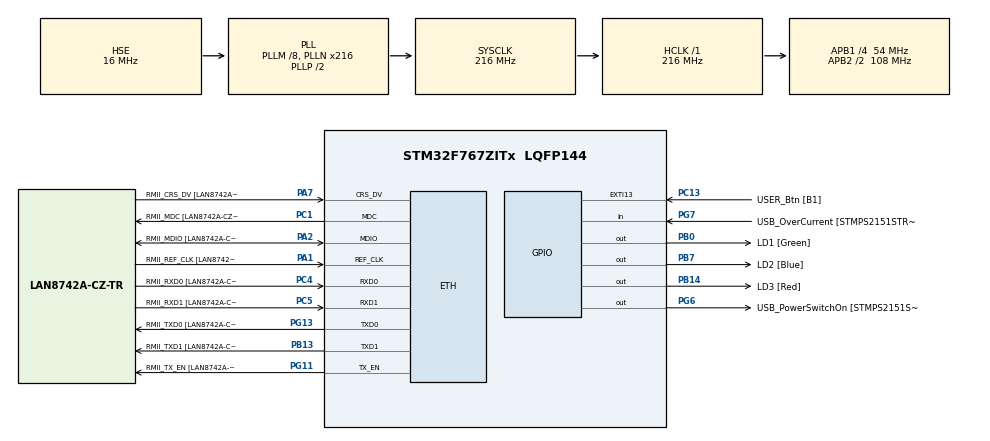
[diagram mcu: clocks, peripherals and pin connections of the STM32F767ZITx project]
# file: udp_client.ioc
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CORTEX_M7.AccessPermission-Cortex_Memory_Protection_Unit_Region0_Settings=MPU_REGION_FULL_ACCESS
CORTEX_M7.BaseAddress-Cortex_Memory_Protection_Unit_Region0_Settings=0x2007c000
CORTEX_M7.CPU_DCache=Enabled
CORTEX_M7.CPU_ICache=Enabled
CORTEX_M7.DisableExec-Cortex_Memory_Protection_Unit_Region0_Settings=MPU_INSTRUCTION_ACCESS_DISABLE
CORTEX_M7.Enable-Cortex_Memory_Protection_Unit_Region0_Settings=MPU_REGION_ENABLE
CORTEX_M7.IsShareable-Cortex_Memory_Protection_Unit_Region0_Settings=MPU_ACCESS_SHAREABLE
CORTEX_M7.MPU_Control=MPU_PRIVILEGED_DEFAULT
CORTEX_M7.PREFETCH_ENABLE=1
CORTEX_M7.Size-Cortex_Memory_Protection_Unit_Region0_Settings=MPU_REGION_SIZE_16KB
CORTEX_M7.TypeExtField-Cortex_Memory_Protection_Unit_Region0_Settings=MPU_TEX_LEVEL1
ETH.MACAddr=00\:80\:E1\:00\:00\:20
ETH.MediaInterface=HAL_ETH_RMII_MODE
LWIP.BSP.number=1
LWIP.GATEWAY_ADDRESS=192.168.005.001
LWIP.IP_ADDRESS=192.168.005.021
LWIP.LWIP_DHCP=0
LWIP.MEM_SIZE=10*1024
LWIP.NETMASK_ADDRESS=255.255.255.000
LWIP.Version=v2.1.2_Cube
LWIP0.BSP.STBoard=false
LWIP0.BSP.api=BSP_COMPONENT_DRIVER
LWIP0.BSP.component=LAN8742
LWIP0.BSP.instance=LAN8742
LWIP0.BSP.name=Driver_PHY
LWIP0.BSP.semaphore=S_LAN8742
LWIP0.BSP.solution=LAN8742
Mcu.Family=STM32F7
Mcu.Name=STM32F767ZITx
Mcu.Package=LQFP144
NVIC.ETH_IRQn=true\:0\:0\:false\:false\:true\:true\:true\:true
NVIC.PriorityGroup=NVIC_PRIORITYGROUP_4
NVIC.TIM1_BRK_TIM9_IRQn=true\:0\:0\:false\:false\:true\:true\:true\:true
NVIC.TIM1_UP_TIM10_IRQn=true\:0\:0\:false\:false\:true\:true\:true\:true
PA1.GPIO_Label=RMII_REF_CLK [LAN8742A-CZ-TR_REFCLK0]
PA1.Mode=RMII
PA1.Signal=ETH_REF_CLK
PA10.GPIO_Label=USB_ID
PA10.Signal=USB_OTG_FS_ID
PA11.GPIO_Label=USB_DM
PA11.Signal=USB_OTG_FS_DM
PA12.GPIO_Label=USB_DP
PA12.Signal=USB_OTG_FS_DP
PA13.GPIO_Label=TMS
PA13.Signal=SYS_JTMS-SWDIO
PA14.GPIO_Label=TCK
PA14.Signal=SYS_JTCK-SWCLK
PA2.GPIO_Label=RMII_MDIO [LAN8742A-CZ-TR_MDIO]
PA2.Mode=RMII
PA2.Signal=ETH_MDIO
PA7.GPIO_Label=RMII_CRS_DV [LAN8742A-CZ-TR_CRS_DV]
PA7.Mode=RMII
PA7.Signal=ETH_CRS_DV
PA8.GPIO_Label=USB_SOF [TP1]
PA8.Signal=USB_OTG_FS_SOF
PA9.GPIO_Label=USB_VBUS
PA9.Signal=USB_OTG_FS_VBUS
PB0.GPIO_Label=LD1 [Green]
PB0.Signal=GPIO_Output
PB13.GPIO_Label=RMII_TXD1 [LAN8742A-CZ-TR_TXD1]
PB13.Mode=RMII
PB13.Signal=ETH_TXD1
PB14.GPIO_Label=LD3 [Red]
PB14.Signal=GPIO_Output
PB3.GPIO_Label=SW0
PB3.Signal=SYS_JTDO-SWO
PB7.GPIO_Label=LD2 [Blue]
PB7.Signal=GPIO_Output
PC1.GPIO_Label=RMII_MDC [LAN8742A-CZ-TR_MDC]
PC1.Mode=RMII
PC1.Signal=ETH_MDC
PC13.GPIO_Label=USER_Btn [B1]
PC13.Signal=GPXTI13
PC14/OSC32_IN.Signal=RCC_OSC32_IN
PC15/OSC32_OUT.Signal=RCC_OSC32_OUT
PC4.GPIO_Label=RMII_RXD0 [LAN8742A-CZ-TR_RXD0]
PC4.Mode=RMII
PC4.Signal=ETH_RXD0
PC5.GPIO_Label=RMII_RXD1 [LAN8742A-CZ-TR_RXD1]
PC5.Mode=RMII
PC5.Signal=ETH_RXD1
PD8.GPIO_Label=STLK_RX [STM32F103CBT6_PA3]
PD8.Signal=USART3_TX
PD9.GPIO_Label=STLK_TX [STM32F103CBT6_PA2]
PD9.Signal=USART3_RX
PG11.GPIO_Label=RMII_TX_EN [LAN8742A-CZ-TR_TXEN]
PG11.Mode=RMII
PG11.Signal=ETH_TX_EN
PG13.GPIO_Label=RMII_TXD0 [LAN8742A-CZ-TR_TXD0]
PG13.Mode=RMII
PG13.Signal=ETH_TXD0
PG6.GPIO_Label=USB_PowerSwitchOn [STMPS2151STR_EN]
PG6.Signal=GPIO_Output
PG7.GPIO_Label=USB_OverCurrent [STMPS2151STR_FAULT]
PG7.Signal=GPIO_Input
PH0/OSC_IN.GPIO_Label=MCO [STM32F103CBT6_PA8]
PH0/OSC_IN.Mode=HSE-External-Oscillator
PH0/OSC_IN.Signal=RCC_OSC_IN
PH1/OSC_OUT.Mode=HSE-External-Oscillator
PH1/OSC_OUT.Signal=RCC_OSC_OUT
ProjectManager.HeapSize=0x200
ProjectManager.StackSize=0x400
ProjectManager.TargetToolchain=STM32CubeIDE
RCC.48MHZClocksFreq_Value=24000000
RCC.AHBFreq_Value=216000000
RCC.APB1CLKDivider=RCC_HCLK_DIV4
RCC.APB1Freq_Value=54000000
RCC.APB1TimFreq_Value=108000000
RCC.APB2CLKDivider=RCC_HCLK_DIV2
RCC.APB2Freq_Value=108000000
RCC.APB2TimFreq_Value=216000000
RCC.CortexFreq_Value=216000000
RCC.HCLKFreq_Value=216000000
RCC.HSE_VALUE=16000000
RCC.HSI_VALUE=16000000
RCC.LSE_VALUE=32768
RCC.PLLM=8
RCC.PLLMUL=RCC_PLL_MUL9
RCC.PLLN=216
RCC.PLLSourceVirtual=RCC_PLLSOURCE_HSE
RCC.PRESCALERUSB=RCC_USBCLKSOURCE_PLL_DIV1_5
RCC.SYSCLKFreq_VALUE=216000000
RCC.SYSCLKSource=RCC_SYSCLKSOURCE_PLLCLK
RCC.SYSCLKSourceVirtual=RCC_SYSCLKSOURCE_PLLCLK
RCC.USBFreq_Value=216000000
RCC.VCOOutputFreq_Value=432000000
TIM1.Period=10000
TIM1.Prescaler=10800
VP_LWIP_VS_Enabled.Mode=Enabled
VP_TIM1_VS_ClockSourceINT.Mode=Internal
board=NUCLEO-F767ZI

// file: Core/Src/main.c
/* USER CODE BEGIN Header */
/**
  ******************************************************************************
  * @file           : main.c
  * @brief          : Main program body
  ******************************************************************************
  * @attention
  *
  * Copyright (c) 2024 STMicroelectronics.
  * All rights reserved.
  *
  * This software is licensed under terms that can be found in the LICENSE file
  * in the root directory of this software component.
  * If no LICENSE file comes with this software, it is provided AS-IS.
  *
  ******************************************************************************
  */
/* USER CODE END Header */
#include "main.h"
#include "lwip.h"

/* USER CODE BEGIN Includes */
#include "lwip/pbuf.h"
#include "lwip/udp.h"
#include "lwip/tcp.h"

#include "stdio.h"
#include "string.h"

/* USER CODE END Includes */

TIM_HandleTypeDef htim1;

/* USER CODE BEGIN PV */

extern struct netif gnetif;
struct udp_pcb *upcb;
char buffer[100];
int counter;

/* USER CODE END PV */

void SystemClock_Config(void);
static void MPU_Config(void);
static void MX_GPIO_Init(void);
static void MX_TIM1_Init(void);
/* USER CODE BEGIN PFP */

void udp_receive_callback(void *arg, struct udp_pcb *upcb, struct pbuf *p,
		const ip_addr_t *addr, u16_t port);
static void udp_client_send();

void udp_client_connect();

/* USER CODE END PFP */

int main(void)
{

  /* MPU Configuration--------------------------------------------------------*/
  MPU_Config();
/* Enable the CPU Cache */

  /* Enable I-Cache---------------------------------------------------------*/
  SCB_EnableICache();

  /* Enable D-Cache---------------------------------------------------------*/
  SCB_EnableDCache();

  /* MCU Configuration--------------------------------------------------------*/

  /* Reset of all peripherals, Initializes the Flash interface and the Systick. */
  HAL_Init();

  /* Configure the system clock */
  SystemClock_Config();

  /* Initialize all configured peripherals */
  MX_GPIO_Init();
  MX_LWIP_Init();
  MX_TIM1_Init();
  /* USER CODE BEGIN 2 */

  //Start HAL timer interrupt

  udp_client_connect();

  // Interrupt occurs once every 250ms
  HAL_TIM_Base_Start_IT(&htim1);

  /* USER CODE END 2 */

  /* Infinite loop */
  /* USER CODE BEGIN WHILE */
  while (1)
  {

	  ethernetif_input(&gnetif);
	  ethernet_link_check_state(&gnetif);
	  //udpClient
//	  gnetif.input()
	  //ethernet_input(p, netif)
	  sys_check_timeouts();
    /* USER CODE END WHILE */

  }
}

void SystemClock_Config(void)
{
  RCC_OscInitTypeDef RCC_OscInitStruct = {0};
  RCC_ClkInitTypeDef RCC_ClkInitStruct = {0};

  /** Configure the main internal regulator output voltage
  */
  __HAL_RCC_PWR_CLK_ENABLE();
  __HAL_PWR_VOLTAGESCALING_CONFIG(PWR_REGULATOR_VOLTAGE_SCALE1);

  /** Initializes the RCC Oscillators according to the specified parameters
  * in the RCC_OscInitTypeDef structure.
  */
  RCC_OscInitStruct.OscillatorType = RCC_OSCILLATORTYPE_HSE;
  RCC_OscInitStruct.HSEState = RCC_HSE_ON;
  RCC_OscInitStruct.PLL.PLLState = RCC_PLL_ON;
  RCC_OscInitStruct.PLL.PLLSource = RCC_PLLSOURCE_HSE;
  RCC_OscInitStruct.PLL.PLLM = 8;
  RCC_OscInitStruct.PLL.PLLN = 216;
  RCC_OscInitStruct.PLL.PLLP = RCC_PLLP_DIV2;
  RCC_OscInitStruct.PLL.PLLQ = 2;
  RCC_OscInitStruct.PLL.PLLR = 2;
  if (HAL_RCC_OscConfig(&RCC_OscInitStruct) != HAL_OK)
  {
    Error_Handler();
  }

  /** Activate the Over-Drive mode
  */
  if (HAL_PWREx_EnableOverDrive() != HAL_OK)
  {
    Error_Handler();
  }

  /** Initializes the CPU, AHB and APB buses clocks
  */
  RCC_ClkInitStruct.ClockType = RCC_CLOCKTYPE_HCLK|RCC_CLOCKTYPE_SYSCLK
                              |RCC_CLOCKTYPE_PCLK1|RCC_CLOCKTYPE_PCLK2;
  RCC_ClkInitStruct.SYSCLKSource = RCC_SYSCLKSOURCE_PLLCLK;
  RCC_ClkInitStruct.AHBCLKDivider = RCC_SYSCLK_DIV1;
  RCC_ClkInitStruct.APB1CLKDivider = RCC_HCLK_DIV4;
  RCC_ClkInitStruct.APB2CLKDivider = RCC_HCLK_DIV2;

  if (HAL_RCC_ClockConfig(&RCC_ClkInitStruct, FLASH_LATENCY_7) != HAL_OK)
  {
    Error_Handler();
  }
}

static void MX_TIM1_Init(void)
{

  TIM_ClockConfigTypeDef sClockSourceConfig = {0};
  TIM_MasterConfigTypeDef sMasterConfig = {0};

  htim1.Instance = TIM1;
  htim1.Init.Prescaler = 10800;
  htim1.Init.CounterMode = TIM_COUNTERMODE_UP;
  htim1.Init.Period = 10000;
  htim1.Init.ClockDivision = TIM_CLOCKDIVISION_DIV1;
  htim1.Init.RepetitionCounter = 0;
  htim1.Init.AutoReloadPreload = TIM_AUTORELOAD_PRELOAD_DISABLE;
  if (HAL_TIM_Base_Init(&htim1) != HAL_OK)
  {
    Error_Handler();
  }
  sClockSourceConfig.ClockSource = TIM_CLOCKSOURCE_INTERNAL;
  if (HAL_TIM_ConfigClockSource(&htim1, &sClockSourceConfig) != HAL_OK)
  {
    Error_Handler();
  }
  sMasterConfig.MasterOutputTrigger = TIM_TRGO_RESET;
  sMasterConfig.MasterOutputTrigger2 = TIM_TRGO2_RESET;
  sMasterConfig.MasterSlaveMode = TIM_MASTERSLAVEMODE_DISABLE;
  if (HAL_TIMEx_MasterConfigSynchronization(&htim1, &sMasterConfig) != HAL_OK)
  {
    Error_Handler();
  }

}

static void MX_GPIO_Init(void)
{
  GPIO_InitTypeDef GPIO_InitStruct = {0};

  /* GPIO Ports Clock Enable */
  __HAL_RCC_GPIOC_CLK_ENABLE();
  __HAL_RCC_GPIOH_CLK_ENABLE();
  __HAL_RCC_GPIOA_CLK_ENABLE();
  __HAL_RCC_GPIOB_CLK_ENABLE();
  __HAL_RCC_GPIOD_CLK_ENABLE();
  __HAL_RCC_GPIOG_CLK_ENABLE();

  /*Configure GPIO pin Output Level */
  HAL_GPIO_WritePin(GPIOB, LD1_Pin|LD3_Pin|LD2_Pin, GPIO_PIN_RESET);

  /*Configure GPIO pin Output Level */
  HAL_GPIO_WritePin(USB_PowerSwitchOn_GPIO_Port, USB_PowerSwitchOn_Pin, GPIO_PIN_RESET);

  /*Configure GPIO pin : USER_Btn_Pin */
  GPIO_InitStruct.Pin = USER_Btn_Pin;
  GPIO_InitStruct.Mode = GPIO_MODE_IT_RISING;
  GPIO_InitStruct.Pull = GPIO_NOPULL;
  HAL_GPIO_Init(USER_Btn_GPIO_Port, &GPIO_InitStruct);

  /*Configure GPIO pins : LD1_Pin LD3_Pin LD2_Pin */
  GPIO_InitStruct.Pin = LD1_Pin|LD3_Pin|LD2_Pin;
  GPIO_InitStruct.Mode = GPIO_MODE_OUTPUT_PP;
  GPIO_InitStruct.Pull = GPIO_NOPULL;
  GPIO_InitStruct.Speed = GPIO_SPEED_FREQ_LOW;
  HAL_GPIO_Init(GPIOB, &GPIO_InitStruct);

  /*Configure GPIO pins : STLK_RX_Pin STLK_TX_Pin */
  GPIO_InitStruct.Pin = STLK_RX_Pin|STLK_TX_Pin;
  GPIO_InitStruct.Mode = GPIO_MODE_AF_PP;
  GPIO_InitStruct.Pull = GPIO_NOPULL;
  GPIO_InitStruct.Speed = GPIO_SPEED_FREQ_VERY_HIGH;
  GPIO_InitStruct.Alternate = GPIO_AF7_USART3;
  HAL_GPIO_Init(GPIOD, &GPIO_InitStruct);

  /*Configure GPIO pin : USB_PowerSwitchOn_Pin */
  GPIO_InitStruct.Pin = USB_PowerSwitchOn_Pin;
  GPIO_InitStruct.Mode = GPIO_MODE_OUTPUT_PP;
  GPIO_InitStruct.Pull = GPIO_NOPULL;
  GPIO_InitStruct.Speed = GPIO_SPEED_FREQ_LOW;
  HAL_GPIO_Init(USB_PowerSwitchOn_GPIO_Port, &GPIO_InitStruct);

  /*Configure GPIO pin : USB_OverCurrent_Pin */
  GPIO_InitStruct.Pin = USB_OverCurrent_Pin;
  GPIO_InitStruct.Mode = GPIO_MODE_INPUT;
  GPIO_InitStruct.Pull = GPIO_NOPULL;
  HAL_GPIO_Init(USB_OverCurrent_GPIO_Port, &GPIO_InitStruct);

  /*Configure GPIO pins : USB_SOF_Pin USB_ID_Pin USB_DM_Pin USB_DP_Pin */
  GPIO_InitStruct.Pin = USB_SOF_Pin|USB_ID_Pin|USB_DM_Pin|USB_DP_Pin;
  GPIO_InitStruct.Mode = GPIO_MODE_AF_PP;
  GPIO_InitStruct.Pull = GPIO_NOPULL;
  GPIO_InitStruct.Speed = GPIO_SPEED_FREQ_VERY_HIGH;
  GPIO_InitStruct.Alternate = GPIO_AF10_OTG_FS;
  HAL_GPIO_Init(GPIOA, &GPIO_InitStruct);

  /*Configure GPIO pin : USB_VBUS_Pin */
  GPIO_InitStruct.Pin = USB_VBUS_Pin;
  GPIO_InitStruct.Mode = GPIO_MODE_INPUT;
  GPIO_InitStruct.Pull = GPIO_NOPULL;
  HAL_GPIO_Init(USB_VBUS_GPIO_Port, &GPIO_InitStruct);

}

/* USER CODE BEGIN 4 */

void HAL_TIM_PeriodElapsedCallback(TIM_HandleTypeDef *htim)
{
	HAL_GPIO_TogglePin(GPIOB, GPIO_PIN_14);

	// Timer callback meant to send data from stm -> Rpi in a periodic manner

//	udp_client_send();
}

void udp_client_connect()
{
	err_t err;

	// Create a new UDP control block
	// Need to check for null return
	upcb = udp_new();

	// Bind control block to module's IP address and port
	// Static IP address: 192.168.2.xxx
	ip_addr_t my_ip;
	IP_ADDR4(&my_ip, 192, 168, 5, 21); 	//STM ip when connected to RPI 5
//	IP_ADDR4(&my_ip, 192, 168, 20, 21); 	//STM ip when connected to Jetson Orin
//	IP_ADDR4(&my_ip, 192, 168, 2, 21); 	// STM ip when connected to linux desktop

	// Binds udp protocol control block to a local IP address
	// Arbitrary port # selection: 8
	udp_bind(upcb, &my_ip, 8);

	// Configure destination IP address
	// Host ip address: 192.168.2.5
	// Arbitrary port # selection: 12345
	ip_addr_t DestIPaddr;
	IP_ADDR4(&DestIPaddr, 192, 168, 5, 5);  //RPI 5 host ip address
//	IP_ADDR4(&DestIPaddr, 192, 168, 20, 5);  //Jetson Orin Nano host ip address
//	IP_ADDR4(&DestIPaddr, 192, 168, 2, 5);  //Desktop Host ip address
	err = udp_connect(upcb, &DestIPaddr, 12345);

	if (err == HAL_OK)
	{
		// Blue LED
		HAL_GPIO_TogglePin(GPIOB, GPIO_PIN_7);
		// Send message to server
		// Add function here
//		udp_client_send();
		// Set a receive callback for the upcb when server sends data to client
		udp_recv(upcb, udp_receive_callback, NULL);

	}
}

static void udp_client_send()
{

	struct pbuf *tx_buff;
	char data[100];

	int len = sprintf(data, "Sending UDP client message: %d", counter);

	// Allocate pbuf from pool
	tx_buff = pbuf_alloc(PBUF_TRANSPORT, len, PBUF_RAM);

	if (tx_buff != NULL)
	{
		// Copy data into pbuf
		pbuf_take(tx_buff, data, len);

		// Send udp data
		udp_send(upcb, tx_buff);

		// Free pbuf
		pbuf_free(tx_buff);
	}
}

void udp_receive_callback(void *arg, struct udp_pcb *upcb, struct pbuf *p,
		const ip_addr_t *addr, u16_t port)
{
	// Copy data from the pbuf
	strncpy(buffer, (char *)p->payload, p->len);

	// Increment message count
	++counter;

	// Free recieve pbuf;
	pbuf_free(p);

	HAL_GPIO_TogglePin(GPIOB, GPIO_PIN_0);
}

/* USER CODE END 4 */

/* MPU Configuration */

void MPU_Config(void)
{
  MPU_Region_InitTypeDef MPU_InitStruct = {0};

  /* Disables the MPU */
  HAL_MPU_Disable();

  /** Initializes and configures the Region and the memory to be protected
  */
  MPU_InitStruct.Enable = MPU_REGION_ENABLE;
  MPU_InitStruct.Number = MPU_REGION_NUMBER0;
  MPU_InitStruct.BaseAddress = 0x2007c000;
  MPU_InitStruct.Size = MPU_REGION_SIZE_16KB;
  MPU_InitStruct.SubRegionDisable = 0x0;
  MPU_InitStruct.TypeExtField = MPU_TEX_LEVEL1;
  MPU_InitStruct.AccessPermission = MPU_REGION_FULL_ACCESS;
  MPU_InitStruct.DisableExec = MPU_INSTRUCTION_ACCESS_DISABLE;
  MPU_InitStruct.IsShareable = MPU_ACCESS_SHAREABLE;
  MPU_InitStruct.IsCacheable = MPU_ACCESS_NOT_CACHEABLE;
  MPU_InitStruct.IsBufferable = MPU_ACCESS_NOT_BUFFERABLE;

  HAL_MPU_ConfigRegion(&MPU_InitStruct);
  /* Enables the MPU */
  HAL_MPU_Enable(MPU_PRIVILEGED_DEFAULT);

}

void Error_Handler(void)
{
  __disable_irq();
  while (1)
  {
  }
}
